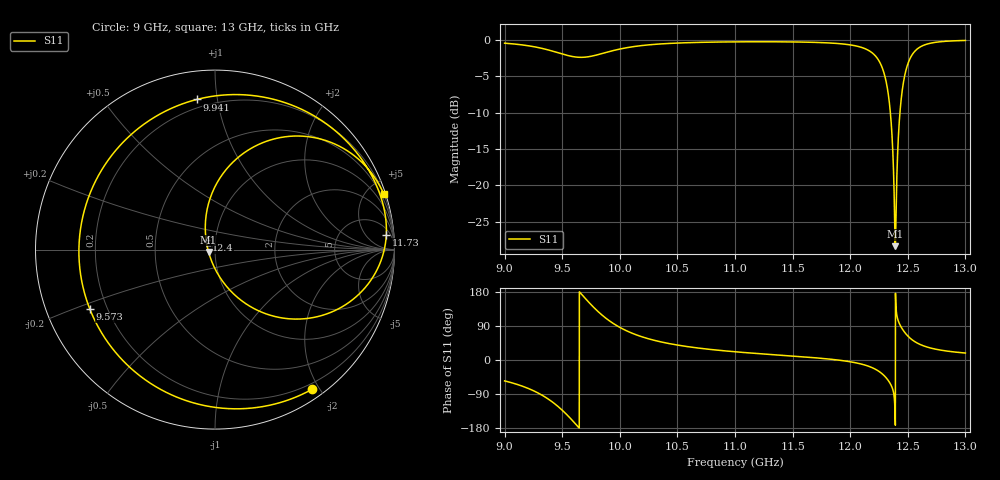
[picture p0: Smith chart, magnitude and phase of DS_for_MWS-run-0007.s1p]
! TOUCHSTONE file generated by CST DESIGN STUDIO
! Date and time: Tue Feb  4 17:49:40 2025
! Project name: C:\Work\MatlabApps\UnitCellOptimizationMatlab\CST\unitcell.cst
! Tree item: Tasks\Sweep1\SPara1\S-Parameters
! Header version: 2024
! Port assignment regex: !\s*Touchstone port\s*([0-9]+)\s*=\s*(CST MWS port|CST DES external port|CST DES block port)\s*(.+)\s* \(\"(.*)\"\)(\s*mode\s*([0-9]+))?.*
! Touchstone port assignment:
! Touchstone port 1 = CST DES external port 1 ("")
# GHz S MA R 50
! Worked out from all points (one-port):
!   4001 points, 9 GHz to 13 GHz, reference 50 ohm
!   lowest |S11| = -28.3 dB at 12.39 GHz (marker M1), VSWR 1.08, Z = 46.5 - j1.24 ohm
!   |S11| at or under -10 dB: 12.35 GHz to 12.43 GHz (83.08 MHz wide, 0.671 % of centre)
!   S11 on the Smith chart (normalised r, x): 9 GHz: 0.12, -1.91; 9.573 GHz: 0.14, -0.22; 9.941 GHz: 0.15, +0.88; 11.73 GHz: 9, +18; 12.4 GHz: 0.90, +0.09; 13 GHz: 0.20, +6.17
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9  0.9478 -55.1
9.16  0.9209 -69.7
9.312  0.8777 -90.6
9.411  0.8383 -109.9
9.5  0.7992 -132.4
9.573  0.7721 -154.6
9.72  0.7635 155.9
9.829  0.7979 123.0
9.941  0.8428 96.9
10  0.8639 86.1
10.22  0.9182 58.6
10.5  0.9498 39.4
11  0.968 21.7
11.5  0.9668 10.4
11.727  0.9582 5.0
12  0.9228 -4.7
12.18  0.8257 -18.9
12.291  0.6002 -40.2
12.345  0.3398 -60.9
12.361  0.2343 -70.5
12.379  0.105 -90.5
12.391  0.0383 -159.6
12.399  0.07152 133.6
12.439  0.3663 88.7
12.5  0.6817 63.4
12.576  0.8569 45.7
12.667  0.9345 34.2
13  0.9896 18.4
